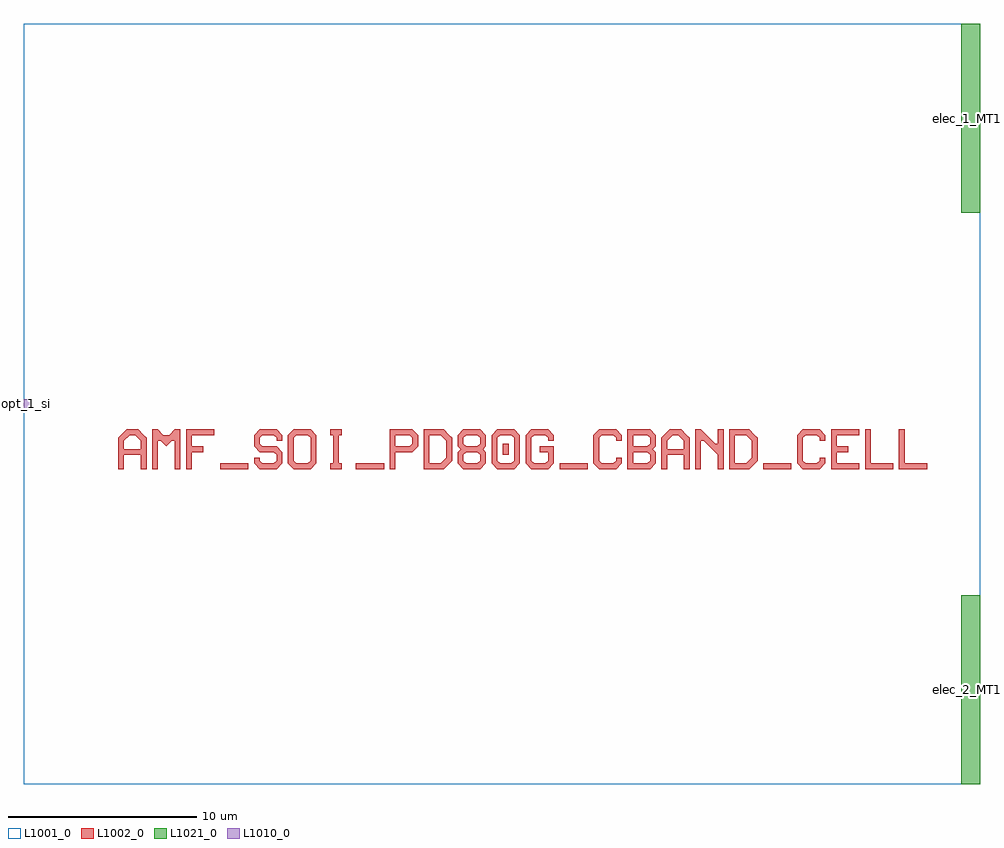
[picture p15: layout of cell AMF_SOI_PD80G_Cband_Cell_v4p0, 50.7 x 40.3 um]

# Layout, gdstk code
import gdstk
lib = gdstk.Library(unit=1e-6, precision=1e-09)
def R(c, l, rs):  # rectangles x0, y0, x1, y1
    for r in rs: c.add(gdstk.rectangle(r[:2], r[2:], *l))
def A(c, l, x, y, w, h, nx, ny, dx, dy):  # array of equal rectangles
    R(c, l, [(x+i*dx, y+j*dy, x+i*dx+w, y+j*dy+h) for i in range(nx) for j in range(ny)])
def P(c, l, *ps):  # polygons
    for p in ps: c.add(gdstk.Polygon(p, *l))
L1001_0 = (1001, 0)
L1002_0 = (1002, 0)
L1010_0 = (1010, 0)
L1021_0 = (1021, 0)

amf_soi_pd80g_cband_cell = lib.new_cell('AMF_SOI_PD80G_Cband_Cell_v4p0')
R(amf_soi_pd80g_cband_cell, L1001_0, [(0,-20.15,50.7,20.15)])
A(amf_soi_pd80g_cband_cell, L1002_0, 17.6, -3.447, 1.5, 0.3, 3, 1, 10.8, 0)
R(amf_soi_pd80g_cband_cell, L1002_0, [(10.4,-3.447,11.9,-3.147), (25.4,-2.697,25.7,-2.097)])
P(amf_soi_pd80g_cband_cell, L1002_0, [(5,-3.447),(5,-1.797),(5.45,-1.347),(6.05,-1.347),(6.35,-1.647),(5.6,-1.647),(5.3,-1.947),(5.3,-2.397),(6.2,-2.397),(6.2,-1.947),(5.9,-1.647),(6.35,-1.647),(6.5,-1.797),(6.5,-3.447),(6.2,-3.447),(6.2,-2.697),(5.3,-2.697),(5.3,-3.447)],
  [(6.8,-3.447),(6.8,-1.347),(7.1,-1.347),(7.4,-1.647),(7.7,-1.647),(8,-1.347),(8.3,-1.347),(8.3,-3.447),(8,-3.447),(8,-1.947),(7.85,-1.947),(7.55,-2.247),(7.25,-1.947),(7.1,-1.947),(7.1,-3.447)],
  [(8.6,-3.447),(8.6,-1.347),(10.1,-1.347),(10.1,-1.647),(8.9,-1.647),(8.9,-2.247),(9.5,-2.247),(9.5,-2.547),(8.9,-2.547),(8.9,-3.447)],
  [(12.5,-3.447),(12.2,-3.147),(12.2,-2.847),(12.5,-2.847),(12.5,-2.997),(12.65,-3.147),(13.25,-3.147),(13.4,-2.997),(13.4,-2.697),(13.25,-2.547),(12.5,-2.547),(12.2,-2.247),(12.2,-1.647),(12.5,-1.347),(13.4,-1.347),(13.7,-1.647),(13.7,-1.947),(13.4,-1.947),(13.4,-1.797),(13.25,-1.647),(12.65,-1.647),(12.5,-1.797),(12.5,-2.097),(12.65,-2.247),(13.4,-2.247),(13.7,-2.547),(13.7,-3.147),(13.4,-3.447)],
  [(14.3,-3.447),(14,-3.147),(14,-1.647),(14.3,-1.347),(15.2,-1.347),(15.5,-1.647),(15.5,-2.397),(15.2,-2.397),(15.2,-1.797),(15.05,-1.647),(14.45,-1.647),(14.3,-1.797),(14.3,-2.997),(14.45,-3.147),(15.05,-3.147),(15.2,-2.997),(15.2,-2.397),(15.5,-2.397),(15.5,-3.147),(15.2,-3.447)],
  [(16.25,-3.447),(16.25,-3.147),(16.4,-3.147),(16.4,-1.647),(16.25,-1.647),(16.25,-1.347),(16.85,-1.347),(16.85,-1.647),(16.7,-1.647),(16.7,-3.147),(16.85,-3.147),(16.85,-3.447)],
  [(19.4,-3.447),(19.4,-1.347),(20.6,-1.347),(20.9,-1.647),(20.9,-2.247),(20.6,-2.547),(19.7,-2.547),(19.7,-2.247),(20.45,-2.247),(20.6,-2.097),(20.6,-1.797),(20.45,-1.647),(19.7,-1.647),(19.7,-3.447)],
  [(21.2,-3.447),(21.2,-1.347),(22.25,-1.347),(22.55,-1.647),(21.5,-1.647),(21.5,-3.147),(22.1,-3.147),(22.4,-2.847),(22.4,-1.947),(22.1,-1.647),(22.55,-1.647),(22.7,-1.797),(22.7,-2.997),(22.25,-3.447)],
  [(23.3,-3.447),(23,-3.147),(23,-2.547),(23.15,-2.397),(23,-2.247),(23,-1.647),(23.3,-1.347),(24.2,-1.347),(24.5,-1.647),(23.45,-1.647),(23.3,-1.797),(23.3,-2.097),(23.45,-2.247),(24.05,-2.247),(24.2,-2.097),(24.2,-1.797),(24.05,-1.647),(24.5,-1.647),(24.5,-2.247),(24.35,-2.397),(24.5,-2.547),(23.45,-2.547),(23.3,-2.697),(23.3,-2.997),(23.45,-3.147),(24.05,-3.147),(24.2,-2.997),(24.2,-2.697),(24.05,-2.547),(24.5,-2.547),(24.5,-3.147),(24.2,-3.447)],
  [(25.1,-3.447),(24.8,-3.147),(24.8,-1.647),(25.1,-1.347),(26,-1.347),(26.3,-1.647),(25.25,-1.647),(25.1,-1.797),(25.1,-2.997),(25.25,-3.147),(25.85,-3.147),(26,-2.997),(26,-1.797),(25.85,-1.647),(26.3,-1.647),(26.3,-3.147),(26,-3.447)],
  [(26.9,-3.447),(26.6,-3.147),(26.6,-1.647),(26.9,-1.347),(27.8,-1.347),(28.1,-1.647),(28.1,-1.947),(27.8,-1.947),(27.8,-1.797),(27.65,-1.647),(27.05,-1.647),(26.9,-1.797),(26.9,-2.997),(27.05,-3.147),(27.65,-3.147),(27.8,-2.997),(27.8,-2.547),(27.35,-2.547),(27.35,-2.247),(28.1,-2.247),(28.1,-3.147),(27.8,-3.447)],
  [(30.5,-3.447),(30.2,-3.147),(30.2,-1.647),(30.5,-1.347),(31.4,-1.347),(31.7,-1.647),(31.7,-1.947),(31.4,-1.947),(31.4,-1.797),(31.25,-1.647),(30.65,-1.647),(30.5,-1.797),(30.5,-2.997),(30.65,-3.147),(31.25,-3.147),(31.4,-2.997),(31.4,-2.847),(31.7,-2.847),(31.7,-3.147),(31.4,-3.447)],
  [(32,-3.447),(32,-1.347),(33.2,-1.347),(33.5,-1.647),(32.3,-1.647),(32.3,-2.247),(33.05,-2.247),(33.2,-2.097),(33.2,-1.797),(33.05,-1.647),(33.5,-1.647),(33.5,-2.247),(33.35,-2.397),(33.5,-2.547),(32.3,-2.547),(32.3,-3.147),(33.05,-3.147),(33.2,-2.997),(33.2,-2.697),(33.05,-2.547),(33.5,-2.547),(33.5,-3.147),(33.2,-3.447)],
  [(33.8,-3.447),(33.8,-1.797),(34.25,-1.347),(34.85,-1.347),(35.15,-1.647),(34.4,-1.647),(34.1,-1.947),(34.1,-2.397),(35,-2.397),(35,-1.947),(34.7,-1.647),(35.15,-1.647),(35.3,-1.797),(35.3,-3.447),(35,-3.447),(35,-2.697),(34.1,-2.697),(34.1,-3.447)],
  [(35.6,-3.447),(35.6,-1.347),(35.9,-1.347),(36.65,-2.097),(36.8,-2.097),(36.8,-1.347),(37.1,-1.347),(37.1,-3.447),(36.8,-3.447),(36.8,-2.697),(36.05,-1.947),(35.9,-1.947),(35.9,-3.447)],
  [(37.4,-3.447),(37.4,-1.347),(38.45,-1.347),(38.75,-1.647),(37.7,-1.647),(37.7,-3.147),(38.3,-3.147),(38.6,-2.847),(38.6,-1.947),(38.3,-1.647),(38.75,-1.647),(38.9,-1.797),(38.9,-2.997),(38.45,-3.447)],
  [(41.3,-3.447),(41,-3.147),(41,-1.647),(41.3,-1.347),(42.2,-1.347),(42.5,-1.647),(42.5,-1.947),(42.2,-1.947),(42.2,-1.797),(42.05,-1.647),(41.45,-1.647),(41.3,-1.797),(41.3,-2.997),(41.45,-3.147),(42.05,-3.147),(42.2,-2.997),(42.2,-2.847),(42.5,-2.847),(42.5,-3.147),(42.2,-3.447)],
  [(42.8,-3.447),(42.8,-1.347),(44.3,-1.347),(44.3,-1.647),(43.1,-1.647),(43.1,-2.247),(43.7,-2.247),(43.7,-2.547),(43.1,-2.547),(43.1,-3.147),(44.3,-3.147),(44.3,-3.447)],
  [(44.6,-3.447),(44.6,-1.347),(44.9,-1.347),(44.9,-3.147),(46.1,-3.147),(46.1,-3.447)],
  [(46.4,-3.447),(46.4,-1.347),(46.7,-1.347),(46.7,-3.147),(47.9,-3.147),(47.9,-3.447)])
R(amf_soi_pd80g_cband_cell, L1010_0, [(0,-0.25,0.5,0.25)])
R(amf_soi_pd80g_cband_cell, L1021_0, [(49.7,-20.15,50.7,-10.15), (49.7,10.15,50.7,20.15)])
amf_soi_pd80g_cband_cell.add(gdstk.Label('opt_1_si', (0,0), layer=1010, texttype=0))
amf_soi_pd80g_cband_cell.add(gdstk.Label('elec_1_MT1', (50.7,15.15), layer=1021, texttype=0))
amf_soi_pd80g_cband_cell.add(gdstk.Label('elec_2_MT1', (50.7,-15.15), layer=1021, texttype=0))

lib.write_gds('AMF_SOI_PD80G_Cband_Cell_v4p0.gds')
